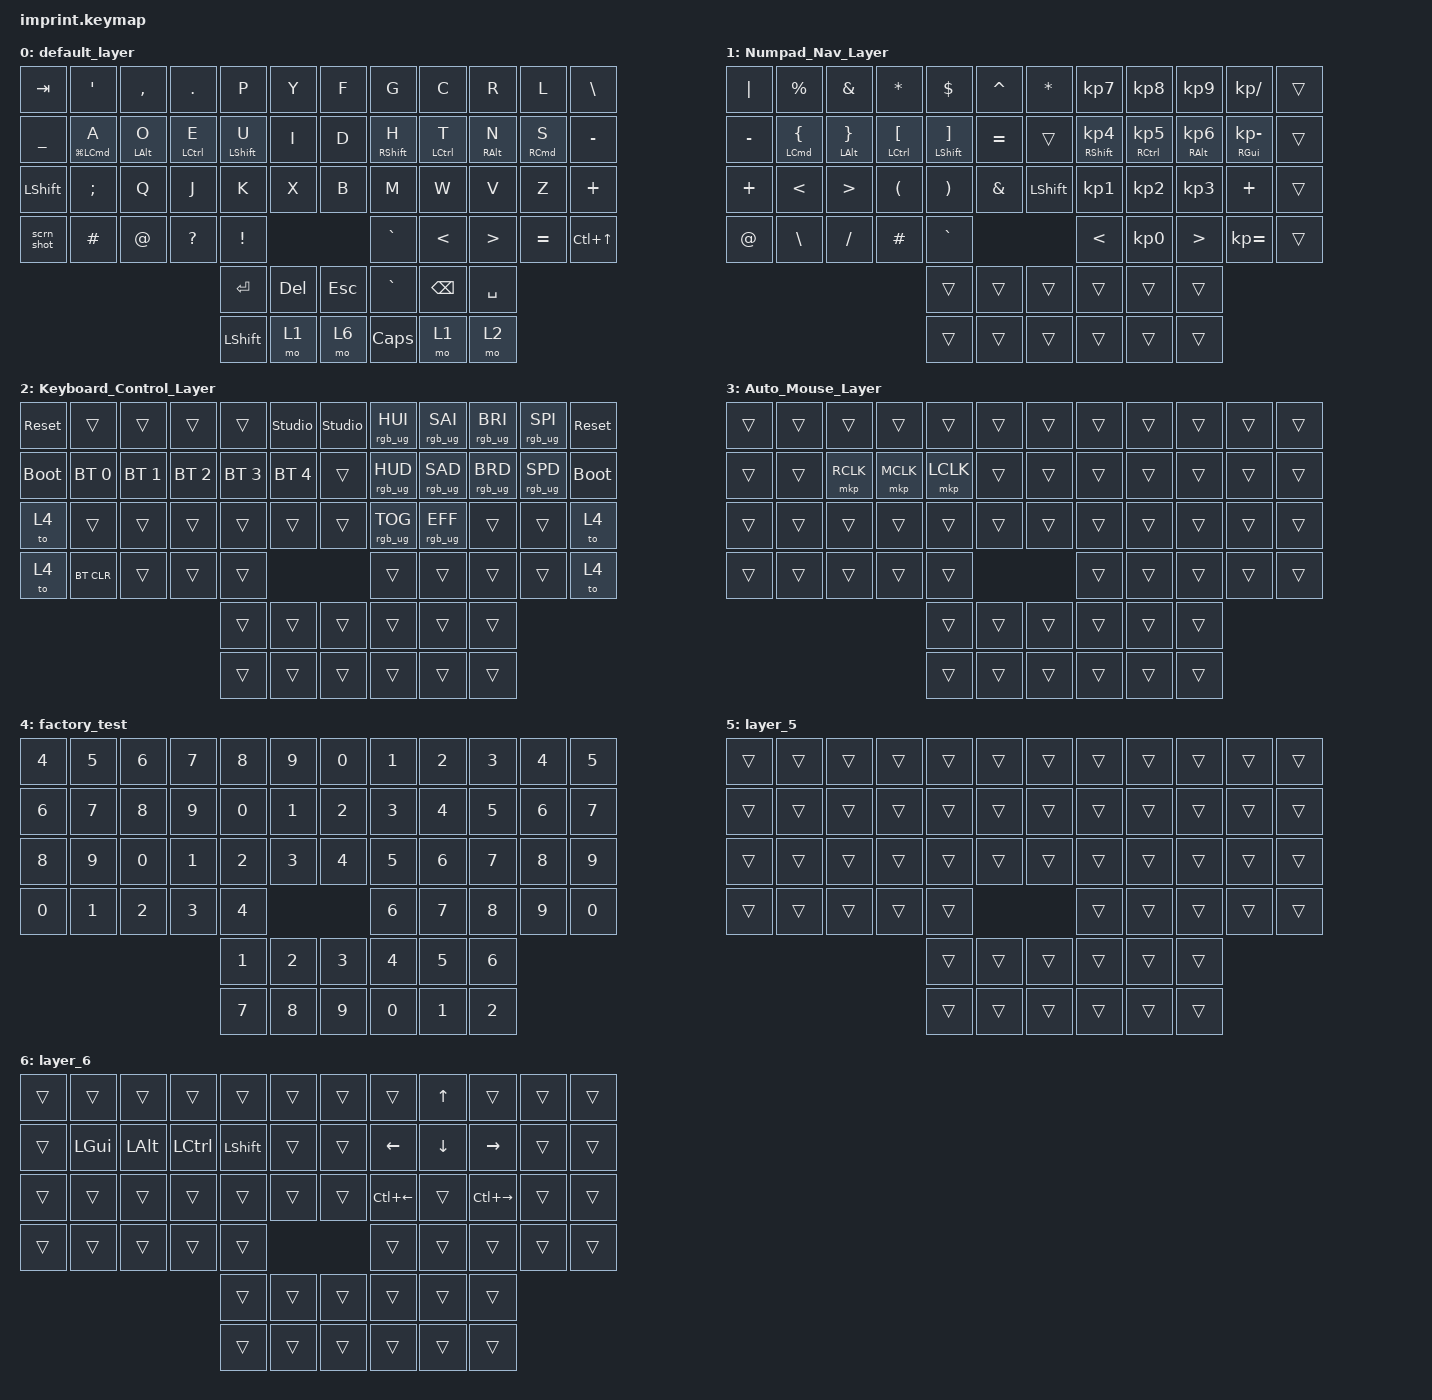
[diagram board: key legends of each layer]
#include <input/processors.dtsi>
#include <dt-bindings/zmk/input_transform.h>
#include <behaviors.dtsi>
#include <dt-bindings/zmk/bt.h>
#include <dt-bindings/zmk/keys.h>
#include <dt-bindings/zmk/pointing.h>
#include <dt-bindings/zmk/rgb.h>

&mt {
    flavor = "tap-preferred";
    tapping-term-ms = <350>;
    quick-tap-ms = <175>;
    require-prior-idle-ms = <175>;
};

/ {
    chosen { zmk,matrix-transform = &imprint_letters_only_full_bottom_row; };

    combos {
        compatible = "zmk,combos";

        asterisk {
            bindings = <&kp KP_ASTERISK>;
            key-positions = <13 14>;
            require-prior-idle-ms = <200>;
            timeout-ms = <20>;
        };

        hrequal {
            bindings = <&kp KP_EQUAL>;
            key-positions = <13 16>;
            require-prior-idle-ms = <200>;
            timeout-ms = <20>;
        };

        hr_greaterthan {
            bindings = <&kp GREATER_THAN>;
            key-positions = <14 16>;
            require-prior-idle-ms = <200>;
            timeout-ms = <20>;
        };

        hr_lessthan {
            bindings = <&kp LESS_THAN>;
            key-positions = <14 15>;
            require-prior-idle-ms = <200>;
            timeout-ms = <20>;
        };

        hr_openparen {
            bindings = <&kp LEFT_PARENTHESIS>;
            key-positions = <19 20>;
            require-prior-idle-ms = <200>;
            timeout-ms = <20>;
        };

        hr_closeparen {
            bindings = <&kp RIGHT_PARENTHESIS>;
            key-positions = <19 21>;
            require-prior-idle-ms = <200>;
            timeout-ms = <20>;
        };
    };

    behaviors {
        td_parens: td_parens {
            compatible = "zmk,behavior-tap-dance";
            label = "TD_PARENS";
            #binding-cells = <0>;
            bindings = <&kp LEFT_PARENTHESIS>, <&kp RIGHT_PARENTHESIS>;

            tapping-term-ms = <200>;
        };

        td_brackets: td_brackets {
            compatible = "zmk,behavior-tap-dance";
            label = "TD_BRACKETS";
            #binding-cells = <0>;
            bindings = <&kp LEFT_BRACKET>, <&kp RIGHT_BRACKET>;

            tapping-term-ms = <200>;
        };
    };

    macros {
        slack_ch_squad: slack_ch_squad {
            compatible = "zmk,behavior-macro";
            #binding-cells = <0>;
            bindings = <&kp D &kp E &kp MINUS &kp R &kp E &kp G &kp R &kp P &kp T &kp MINUS &kp E &kp N &kp G &kp I &kp N &kp E &kp E &kp R &kp S &kp MINUS &kp S &kp Q &kp U &kp A &kp D &kp KP_ENTER>;
            label = "SLACK_CH_SQUAD";
        };

        scrn_shot: scrn_shot {
            compatible = "zmk,behavior-macro";
            #binding-cells = <0>;
            bindings = <&kp LG(LC(LS(NUMBER_4)))>;
            label = "SCRN_SHOT";
        };
    };

    keymap {
        compatible = "zmk,keymap";

        default_layer {
            bindings = <
&kp TAB         &kp SQT         &kp COMMA    &kp PERIOD    &kp P           &kp Y               &kp F      &kp G         &kp C          &kp R             &kp L       &kp BACKSLASH
&kp UNDERSCORE  &mt LG(LCMD) A  &mt LALT O   &mt LCTRL E   &mt LSHFT U     &kp I               &kp D      &mt RSHIFT H  &mt LCTRL T    &mt RALT N        &mt RCMD S  &kp MINUS
&kp LSHFT       &kp SEMICOLON   &kp Q        &kp J         &kp K           &kp X               &kp B      &kp M         &kp W          &kp V             &kp Z       &kp PLUS
&scrn_shot      &kp POUND       &kp AT_SIGN  &kp QUESTION  &kp EXCL                                       &kp GRAVE     &kp LESS_THAN  &kp GREATER_THAN  &kp EQUAL   &kp LC(UP_ARROW)


                                                           &kp RET         &kp DEL  &kp ESC    &kp GRAVE  &kp BSPC      &kp SPACE
                                                           &kp LEFT_SHIFT  &mo 1    &mo 6      &kp CAPS   &mo 1         &mo 2
            >;
        };

        Numpad_Nav_Layer {
            bindings = <
&kp PIPE   &kp PERCENT                  &kp AMPERSAND             &kp ASTERISK                   &kp DOLLAR                    &kp CARET                &kp ASTERISK    &kp KP_NUMBER_7              &kp KP_NUMBER_8                &kp KP_NUMBER_9            &kp KP_SLASH            &trans
&kp MINUS  &mt LEFT_COMMAND LEFT_BRACE  &mt LEFT_ALT RIGHT_BRACE  &mt LEFT_CONTROL LEFT_BRACKET  &mt LEFT_SHIFT RIGHT_BRACKET  &kp EQUAL                &trans          &mt RIGHT_SHIFT KP_NUMBER_4  &mt RIGHT_CONTROL KP_NUMBER_5  &mt RIGHT_ALT KP_NUMBER_6  &mt RIGHT_GUI KP_MINUS  &trans
&kp PLUS   &kp LESS_THAN                &kp GREATER_THAN          &kp LEFT_PARENTHESIS           &kp RIGHT_PARENTHESIS         &kp AMPERSAND            &kp LEFT_SHIFT  &kp KP_NUMBER_1              &kp KP_NUMBER_2                &kp KP_NUMBER_3            &kp PLUS                &trans
&kp AT     &kp BACKSLASH                &kp SLASH                 &kp POUND                      &kp GRAVE                                                              &kp LESS_THAN                &kp KP_NUMBER_0                &kp GREATER_THAN           &kp KP_EQUAL            &trans


                                                                                                 &trans                        &trans         &trans    &trans          &trans                       &trans
                                                                                                 &trans                        &trans         &trans    &trans          &trans                       &trans
            >;
        };

        Keyboard_Control_Layer {
            bindings = <
&sys_reset   &trans        &trans        &trans        &trans        &studio_unlock            &studio_unlock  &rgb_ug RGB_HUI  &rgb_ug RGB_SAI  &rgb_ug RGB_BRI  &rgb_ug RGB_SPI  &sys_reset
&bootloader  &bt BT_SEL 0  &bt BT_SEL 1  &bt BT_SEL 2  &bt BT_SEL 3  &bt BT_SEL 4              &trans          &rgb_ug RGB_HUD  &rgb_ug RGB_SAD  &rgb_ug RGB_BRD  &rgb_ug RGB_SPD  &bootloader
&to 4        &trans        &trans        &trans        &trans        &trans                    &trans          &rgb_ug RGB_TOG  &rgb_ug RGB_EFF  &trans           &trans           &to 4
&to 4        &bt BT_CLR    &trans        &trans        &trans                                                  &trans           &trans           &trans           &trans           &to 4


                                                       &trans        &trans          &trans    &trans          &trans           &trans
                                                       &trans        &trans          &trans    &trans          &trans           &trans
            >;
        };

        Auto_Mouse_Layer {
            bindings = <
&trans  &trans  &trans     &trans     &trans     &trans            &trans  &trans  &trans  &trans  &trans  &trans
&trans  &trans  &mkp RCLK  &mkp MCLK  &mkp LCLK  &trans            &trans  &trans  &trans  &trans  &trans  &trans
&trans  &trans  &trans     &trans     &trans     &trans            &trans  &trans  &trans  &trans  &trans  &trans
&trans  &trans  &trans     &trans     &trans                               &trans  &trans  &trans  &trans  &trans


                                      &trans     &trans  &trans    &trans  &trans  &trans
                                      &trans     &trans  &trans    &trans  &trans  &trans
            >;
        };

        factory_test {
            bindings = <
&kp N4  &kp N5  &kp N6  &kp N7  &kp N8  &kp N9            &kp N0  &kp N1  &kp N2  &kp N3  &kp N4  &kp N5
&kp N6  &kp N7  &kp N8  &kp N9  &kp N0  &kp N1            &kp N2  &kp N3  &kp N4  &kp N5  &kp N6  &kp N7
&kp N8  &kp N9  &kp N0  &kp N1  &kp N2  &kp N3            &kp N4  &kp N5  &kp N6  &kp N7  &kp N8  &kp N9
&kp N0  &kp N1  &kp N2  &kp N3  &kp N4                            &kp N6  &kp N7  &kp N8  &kp N9  &kp N0


                                &kp N1  &kp N2  &kp N3    &kp N4  &kp N5  &kp N6
                                &kp N7  &kp N8  &kp N9    &kp N0  &kp N1  &kp N2
            >;
        };

        layer_5 {
            bindings = <
&trans  &trans  &trans  &trans  &trans  &trans            &trans  &trans  &trans  &trans  &trans  &trans
&trans  &trans  &trans  &trans  &trans  &trans            &trans  &trans  &trans  &trans  &trans  &trans
&trans  &trans  &trans  &trans  &trans  &trans            &trans  &trans  &trans  &trans  &trans  &trans
&trans  &trans  &trans  &trans  &trans                            &trans  &trans  &trans  &trans  &trans


                                &trans  &trans  &trans    &trans  &trans  &trans
                                &trans  &trans  &trans    &trans  &trans  &trans
            >;
        };

        layer_6 {
            bindings = <
&trans  &trans    &trans        &trans            &trans          &trans            &trans  &trans          &kp UP_ARROW  &trans         &trans  &trans
&trans  &kp LGUI  &kp LEFT_ALT  &kp LEFT_CONTROL  &kp LEFT_SHIFT  &trans            &trans  &kp LEFT_ARROW  &kp DOWN      &kp RIGHT      &trans  &trans
&trans  &trans    &trans        &trans            &trans          &trans            &trans  &kp LC(LEFT)    &trans        &kp LC(RIGHT)  &trans  &trans
&trans  &trans    &trans        &trans            &trans                                    &trans          &trans        &trans         &trans  &trans


                                                  &trans          &trans  &trans    &trans  &trans          &trans
                                                  &trans          &trans  &trans    &trans  &trans          &trans
            >;
        };
    };
};

// right hand trackball configuration

&trackball_peripheral_listener {
    input-processors =
        //     activate layer 3 within 500ms of the trackball moving,,,,,,,,,,,,,,,,,,,,,,,,,,,,,,
        <&zip_temp_layer 3 500>;
};

//left hand trackball configuration

&trackball_central_listener {
    input-processors =
        // multiply sensitivity by 1, divide by 3 (make it slower for scrolling),,,,,,,,,,,,,,,,,,,,,,,,,,,,,,,,
        <&zip_xy_scaler 1 10>,
        // make this trackball output scrolling events by default instead of cursor movement,,,,,,,,,,,,,,,,,,,,,,,,,,,,,,,,
        <&zip_xy_to_scroll_mapper>,
        // invert vertical scrolling so that the view moves in the same direction as the top of the trackball.,,,,,,,,,,,,,,,,,,,,,,,,,,,,,,,,
        <&zip_scroll_transform INPUT_TRANSFORM_Y_INVERT>;
};
